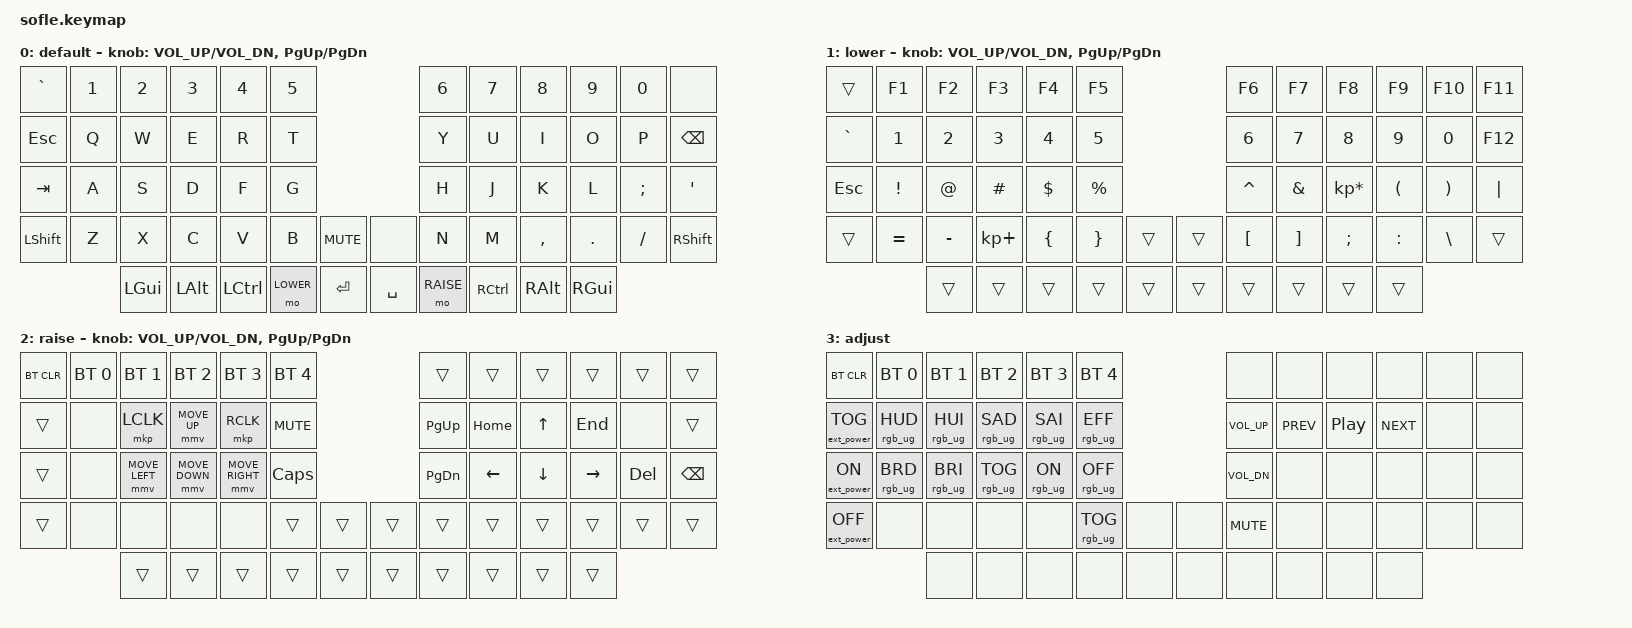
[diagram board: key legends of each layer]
/*
 * Copyright (c) 2020 The ZMK Contributors
 *
 * SPDX-License-Identifier: MIT
 */

#include <behaviors.dtsi>
#include <dt-bindings/zmk/keys.h>
#include <dt-bindings/zmk/bt.h>
#include <dt-bindings/zmk/rgb.h>
#include <dt-bindings/zmk/ext_power.h>
#include <dt-bindings/zmk/pointing.h>

#define BASE 0
#define LOWER 1
#define RAISE 2
#define ADJUST 3

/ {

   // Activate ADJUST layer by pressing raise and lower
    conditional_layers {
        compatible = "zmk,conditional-layers";
        adjust_layer {
            if-layers = <LOWER RAISE>;
            then-layer = <ADJUST>;
        };
    };

    keymap {
        compatible = "zmk,keymap";

        default_layer {
            display-name = "default";
// ------------------------------------------------------------------------------------------------------------
// |   `   |  1  |  2  |  3   |  4   |  5   |                   |  6   |  7    |  8    |  9   |   0   |       |
// |  ESC  |  Q  |  W  |  E   |  R   |  T   |                   |  Y   |  U    |  I    |  O   |   P   | BKSPC |
// |  TAB  |  A  |  S  |  D   |  F   |  G   |                   |  H   |  J    |  K    |  L   |   ;   |   '   |
// | SHIFT |  Z  |  X  |  C   |  V   |  B   |  MUTE  |  |       |  N   |  M    |  ,    |  .   |   /   | SHIFT |
//               | GUI | ALT  | CTRL | LOWER|  ENTER |  | SPACE | RAISE| CTRL  | ALT   | GUI  |
            bindings = <
&kp GRAVE &kp N1 &kp N2   &kp N3   &kp N4    &kp N5                           &kp N6 &kp N7    &kp N8    &kp N9   &kp N0   &none
&kp ESC   &kp Q  &kp W    &kp E    &kp R     &kp T                            &kp Y  &kp U     &kp I     &kp O    &kp P    &kp BSPC
&kp TAB   &kp A  &kp S    &kp D    &kp F     &kp G                            &kp H  &kp J     &kp K     &kp L    &kp SEMI &kp SQT
&kp LSHFT &kp Z  &kp X    &kp C    &kp V     &kp B      &kp C_MUTE &none      &kp N  &kp M     &kp COMMA &kp DOT  &kp FSLH &kp RSHFT
                 &kp LGUI &kp LALT &kp LCTRL &mo LOWER  &kp RET    &kp SPACE  &mo RAISE  &kp RCTRL &kp RALT  &kp RGUI
            >;

            sensor-bindings = <&inc_dec_kp C_VOL_UP C_VOL_DN &inc_dec_kp PG_UP PG_DN>;
        };

        lower_layer {
            display-name = "lower";
// TODO: Some binds are waiting for shifted keycode support.
// ------------------------------------------------------------------------------------------------------------
// |       |  F1 |  F2 |  F3  |  F4  |  F5  |                   |  F6  |  F7   |  F8   |  F9  |  F10  |  F11  |
// |   `   |  1  |  2  |  3   |  4   |  5   |                   |  6   |  7    |  8    |  9   |   0   |  F12  |
// |       |  !  |  @  |  #   |  $   |  %   |                   |  ^   |  &    |  *    |  (   |   )   |   |   |
// |       |  =  |  -  |  +   |  {   |  }   |        |  |       |  [   |  ]    |  ;    |  :   |   \   |       |
//               |     |      |      |      |        |  |       |      |       |       |      |
            bindings = <
&trans    &kp F1    &kp F2    &kp F3      &kp F4    &kp F5                    &kp F6    &kp F7   &kp F8          &kp F9    &kp F10   &kp F11
&kp GRAVE &kp N1    &kp N2    &kp N3      &kp N4    &kp N5                    &kp N6    &kp N7   &kp N8          &kp N9    &kp N0    &kp F12
&kp ESC   &kp EXCL  &kp AT    &kp HASH    &kp DLLR  &kp PRCNT                 &kp CARET &kp AMPS &kp KP_MULTIPLY &kp LPAR  &kp RPAR  &kp PIPE
&trans    &kp EQUAL &kp MINUS &kp KP_PLUS &kp LBRC  &kp RBRC   &trans &trans  &kp LBKT  &kp RBKT &kp SEMI        &kp COLON &kp BSLH  &trans
                    &trans    &trans      &trans    &trans     &trans &trans  &trans    &trans   &trans          &trans
            >;

            sensor-bindings = <&inc_dec_kp C_VOL_UP C_VOL_DN &inc_dec_kp PG_UP PG_DN>;
        };

        raise_layer {
            display-name = "raise";
// ------------------------------------------------------------------------------------------------------------
// | BTCLR | BT1  | BT2  |  BT3  |  BT4  |  BT5 |                |      |      |       |      |       |       |
// |       | INS  | PSCR | GUI   |       |      |                | PGUP |      |   ^   |      |       |       |
// |       | ALT  | CTRL | SHIFT |       | CAPS |                | PGDN |   <- |   v   |  ->  |  DEL  | BKSPC |
// |       | UNDO | CUT  | COPY  | PASTE |      |      |  |      |      |      |       |      |       |       |
//                |      |       |       |      |      |  |      |      |      |       |      |
            bindings = <
&bt BT_CLR &bt BT_SEL 0 &bt BT_SEL 1   &bt BT_SEL 2   &bt BT_SEL 3    &bt BT_SEL 4                  &trans    &trans    &trans   &trans    &trans  &trans
&trans     &none        &mkp LCLK      &mmv MOVE_UP   &mkp RCLK       &kp C_MUTE                    &kp PG_UP &kp HOME  &kp UP   &kp END   &none   &trans
&trans     &none        &mmv MOVE_LEFT &mmv MOVE_DOWN &mmv MOVE_RIGHT &kp CLCK                      &kp PG_DN &kp LEFT  &kp DOWN &kp RIGHT &kp DEL &kp BSPC
&trans     &none        &none          &none          &none           &trans        &trans  &trans  &trans    &trans    &trans   &trans    &trans  &trans
                        &trans         &trans         &trans          &trans        &trans  &trans  &trans    &trans    &trans   &trans
            >;

            sensor-bindings = <&inc_dec_kp C_VOL_UP C_VOL_DN &inc_dec_kp PG_UP PG_DN>;
        };

        adjust_layer {
// ----------------------------------------------------------------------------------------------------------------------------
// | BTCLR  |  BT1    |  BT2    |   BT3   |   BT4   |   BT5   |                  |      |      |       |      |       |       |
// | EXTPWR | RGB_HUD | RGB_HUI | RGB_SAD | RGB_SAI | RGB_EFF |                  |      |      |       |      |       |       |
// |        | RGB_BRD | RGB_BRI |         |         |         |                  |      |      |       |      |       |       |
// |        |         |         |         |         |         | RGB_TOG | |      |      |      |       |      |       |       |
//                    |         |         |         |         |         | |      |      |      |       |      |
            display-name = "adjust";
            bindings = <
&bt BT_CLR        &bt BT_SEL 0    &bt BT_SEL 1    &bt BT_SEL 2    &bt BT_SEL 3    &bt BT_SEL 4                            &none        &none      &none    &none      &none &none
&ext_power EP_TOG &rgb_ug RGB_HUD &rgb_ug RGB_HUI &rgb_ug RGB_SAD &rgb_ug RGB_SAI &rgb_ug RGB_EFF                         &kp C_VOL_UP &kp C_PREV &kp C_PP &kp C_NEXT &none &none
&ext_power EP_ON  &rgb_ug RGB_BRD &rgb_ug RGB_BRI &rgb_ug RGB_TOG &rgb_ug RGB_ON  &rgb_ug RGB_OFF                         &kp C_VOL_DN &none      &none    &none      &none &none
&ext_power EP_OFF &none           &none           &none           &none           &rgb_ug RGB_TOG  &none           &none  &kp C_MUTE   &none      &none    &none      &none &none
                                  &none           &none           &none           &none            &none           &none  &none        &none      &none    &none
            >;
//             bindings = <
// &bt BT_CLR        &bt BT_SEL 0 &bt BT_SEL 1   &bt BT_SEL 2   &bt BT_SEL 3    &bt BT_SEL 4                        &none        &none      &none    &none      &none &none
// &ext_power EP_TOG &none        &mkp LCLK      &mmv MOVE_UP   &mkp RCLK       &none                               &kp C_VOL_UP &kp C_PREV &kp C_PP &kp C_NEXT &none &none
// &ext_power EP_ON  &none        &mmv MOVE_LEFT &mmv MOVE_DOWN &mmv MOVE_RIGHT &none                               &kp C_VOL_DN &none      &none    &none      &none &none
// &ext_power EP_OFF &none        &none          &none          &none           &none        &none           &none  &kp C_MUTE   &none      &none    &none      &none &none
//                                &none          &none          &none           &none        &none           &none  &none        &none      &none    &none
//             >;
        };
    };
};
